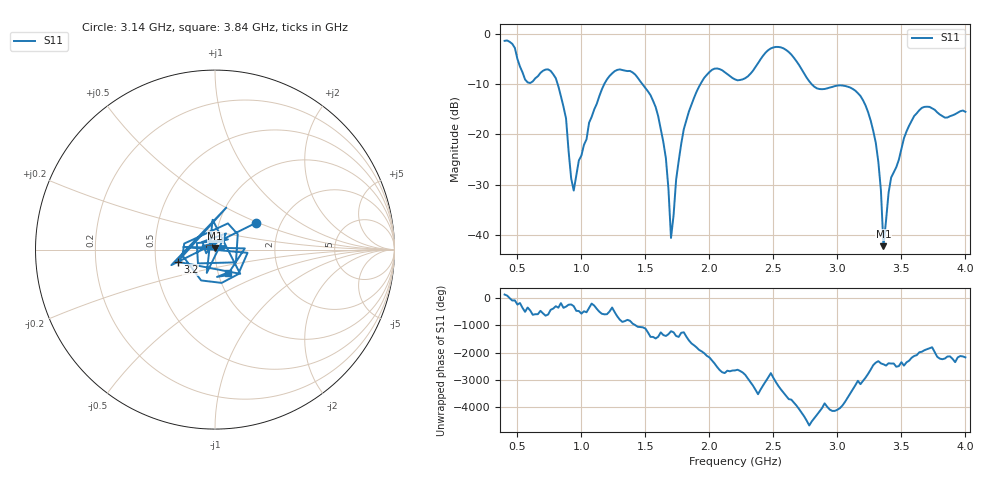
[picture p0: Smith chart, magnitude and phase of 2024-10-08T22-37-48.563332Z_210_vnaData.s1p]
! Created with skrf (http://scikit-rf.org).
# Hz S RI R 50.0
!freq ReS11 ImS11
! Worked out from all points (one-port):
!   181 points, 400 MHz to 4 GHz, reference 50 ohm
!   lowest |S11| = -42.3 dB at 3.36 GHz (marker M1), VSWR 1.02, Z = 50 + j0.77 ohm
!   |S11| at or under -10 dB: 815 MHz to 1.178 GHz (362.7 MHz wide, 36.4 % of centre); 1.478 GHz to 1.929 GHz (451.2 MHz wide, 26.5 % of centre); 2.8 GHz to end of sweep
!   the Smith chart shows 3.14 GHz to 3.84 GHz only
!   S11 on the Smith chart (normalised r, x): 3.14 GHz: 1.50, +0.48; 3.2 GHz: 0.65, -0.09; 3.84 GHz: 1.12, -0.29
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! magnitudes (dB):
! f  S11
! 400 MHz  -1.3
! 580 MHz  -9.6
! 760 MHz  -7.3
! 860 MHz  -14.5
! 940 MHz  -31.2
! 1.06 GHz  -17.7
! 1.3 GHz  -7.0
! 1.58 GHz  -14.5
! 1.66 GHz  -24.7
! 1.7 GHz  -40.6
! 1.76 GHz  -25.3
! 1.84 GHz  -15.4
! 1.96 GHz  -8.7
! 2.2 GHz  -9.0
! 2.5 GHz  -2.6
! 2.66 GHz  -4.7
! 2.84 GHz  -10.8
! 3.1 GHz  -10.6
! 3.14 GHz  -11.3
! 3.2 GHz  -13.2
! 3.3 GHz  -21.7
! 3.34 GHz  -31.1
! 3.36 GHz  -42.3
! 3.42 GHz  -28.6
! 3.56 GHz  -18.3
! 3.68 GHz  -14.5
! 3.84 GHz  -16.6
! 4 GHz  -15.5
